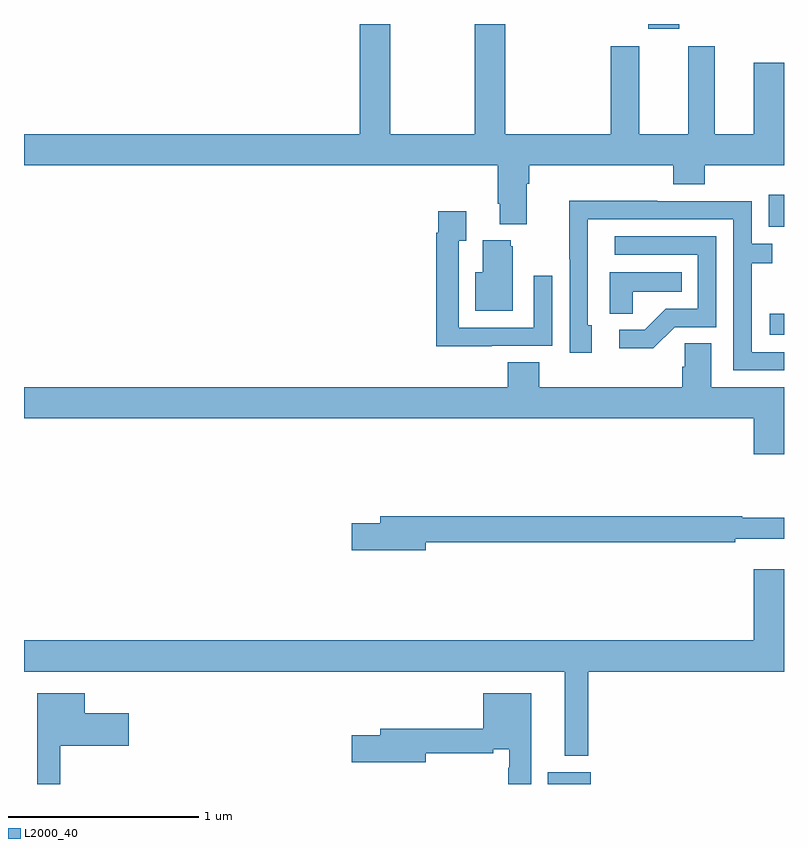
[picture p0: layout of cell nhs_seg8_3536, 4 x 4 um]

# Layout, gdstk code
import gdstk
lib = gdstk.Library(unit=1e-6, precision=1e-09)
def R(c, l, rs):  # rectangles x0, y0, x1, y1
    for r in rs: c.add(gdstk.rectangle(r[:2], r[2:], *l))
def P(c, l, *ps):  # polygons
    for p in ps: c.add(gdstk.Polygon(p, *l))
L2000_40 = (2000, 40)

nhs_seg8_3536 = lib.new_cell('nhs_seg8_3536')
R(nhs_seg8_3536, L2000_40, [(331.757,1123.9,331.984,1123.963), (332.925,1126.265,333,1126.375), (332.919,1126.833,333,1127.002), (332.285,1127.874,332.449,1127.9)])
P(nhs_seg8_3536, L2000_40, [(331.493,1126.954),(331.505,1126.954),(331.505,1126.847),(331.645,1126.847),(331.645,1127.06),(331.658,1127.06),(331.658,1127.156),(332.417,1127.156),(332.417,1127.057),(332.582,1127.057),(332.582,1127.156),(333,1127.156),(333,1127.695),(332.84,1127.695),(332.84,1127.32),(332.635,1127.32),(332.635,1127.782),(332.495,1127.782),(332.495,1127.32),(332.239,1127.32),(332.239,1127.782),(332.087,1127.782),(332.087,1127.32),(331.532,1127.32),(331.532,1127.9),(331.372,1127.9),(331.372,1127.32),(330.927,1127.32),(330.927,1127.9),(330.767,1127.9),(330.767,1127.32),(329,1127.32),(329,1127.156),(331.493,1127.156)],
  [(333,1126.173),(332.829,1126.173),(332.829,1126.642),(332.939,1126.642),(332.939,1126.743),(332.829,1126.743),(332.829,1126.968),(332.333,1126.968),(332.333,1126.97),(331.87,1126.97),(331.87,1126.663),(331.872,1126.663),(331.872,1126.17),(331.987,1126.17),(331.987,1126.314),(331.968,1126.314),(331.968,1126.872),(332.733,1126.872),(332.733,1126.077),(333,1126.077)],
  [(331.463,1126.206),(331.779,1126.206),(331.779,1126.576),(331.683,1126.576),(331.683,1126.302),(331.287,1126.302),(331.287,1126.759),(331.327,1126.759),(331.327,1126.915),(331.179,1126.915),(331.179,1126.802),(331.171,1126.802),(331.171,1126.205),(331.463,1126.205)],
  [(332.424,1126.305),(332.643,1126.305),(332.643,1126.782),(332.109,1126.782),(332.109,1126.686),(332.547,1126.686),(332.547,1126.401),(332.378,1126.401),(332.267,1126.29),(332.133,1126.29),(332.133,1126.193),(332.311,1126.193)],
  [(331.573,1126.731),(331.562,1126.731),(331.562,1126.762),(331.415,1126.762),(331.415,1126.594),(331.376,1126.594),(331.376,1126.391),(331.573,1126.391)],
  [(332.205,1126.49),(332.462,1126.49),(332.462,1126.594),(332.084,1126.594),(332.084,1126.375),(332.205,1126.375)],
  [(333,1125.988),(332.617,1125.988),(332.617,1126.22),(332.478,1126.22),(332.478,1126.097),(332.465,1126.097),(332.465,1125.988),(331.712,1125.988),(331.712,1126.121),(331.547,1126.121),(331.547,1125.988),(329,1125.988),(329,1125.824),(332.84,1125.824),(332.84,1125.636),(333,1125.636)],
  [(331.114,1125.172),(332.744,1125.172),(332.744,1125.191),(333,1125.191),(333,1125.301),(332.78,1125.301),(332.78,1125.308),(330.875,1125.308),(330.875,1125.272),(330.726,1125.272),(330.726,1125.13),(331.114,1125.13)],
  [(331.969,1124.492),(333,1124.492),(333,1125.031),(332.84,1125.031),(332.84,1124.656),(329,1124.656),(329,1124.492),(331.847,1124.492),(331.847,1124.048),(331.969,1124.048)],
  [(329.191,1124.102),(329.551,1124.102),(329.551,1124.272),(329.32,1124.272),(329.32,1124.377),(329.069,1124.377),(329.069,1123.9),(329.191,1123.9)],
  [(331.669,1124.377),(331.418,1124.377),(331.418,1124.191),(330.875,1124.191),(330.875,1124.157),(330.726,1124.157),(330.726,1124.015),(331.114,1124.015),(331.114,1124.062),(331.469,1124.062),(331.469,1124.082),(331.555,1124.082),(331.555,1123.985),(331.548,1123.985),(331.548,1123.9),(331.669,1123.9)])

lib.write_gds('nhs_seg8_3536.gds')
